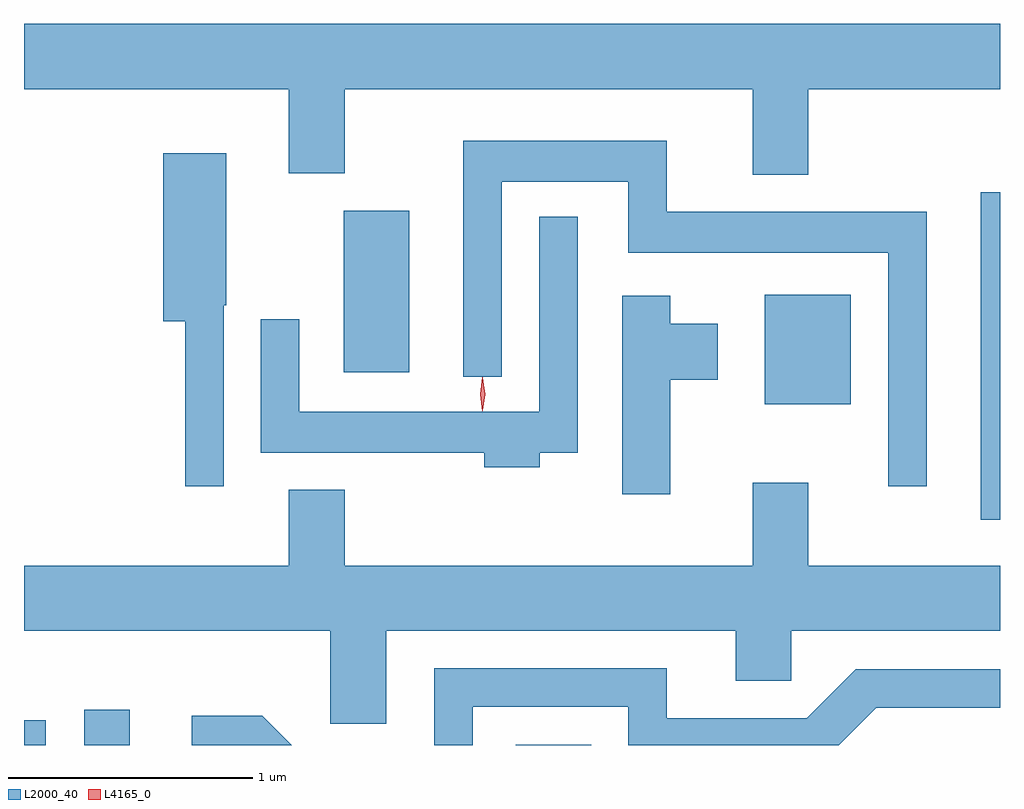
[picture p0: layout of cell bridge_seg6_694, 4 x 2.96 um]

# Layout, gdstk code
import gdstk
lib = gdstk.Library(unit=1e-6, precision=1e-09)
def R(c, l, rs):  # rectangles x0, y0, x1, y1
    for r in rs: c.add(gdstk.rectangle(r[:2], r[2:], *l))
def P(c, l, *ps):  # polygons
    for p in ps: c.add(gdstk.Polygon(p, *l))
L2000_40 = (2000, 40)
L4165_0 = (4165, 0)

bridge_seg6_694 = lib.new_cell('bridge_seg6_694')
R(bridge_seg6_694, L2000_40, [(397.105,1547.348,397.194,1547.449), (397.351,1547.348,397.539,1547.494), (399.121,1547.348,399.429,1547.349), (401.026,1548.271,401.105,1549.614), (400.141,1548.746,400.494,1549.194), (398.416,1548.876,398.684,1549.539)])
P(bridge_seg6_694, L2000_40, [(400.319,1550.036),(401.105,1550.036),(401.105,1550.304),(397.105,1550.304),(397.105,1550.036),(398.191,1550.036),(398.191,1549.691),(398.419,1549.691),(398.419,1550.036),(400.091,1550.036),(400.091,1549.686),(400.319,1549.686)],
  [(400.804,1549.534),(399.739,1549.534),(399.739,1549.824),(398.906,1549.824),(398.906,1548.858),(399.064,1548.858),(399.064,1549.656),(399.581,1549.656),(399.581,1549.366),(400.646,1549.366),(400.646,1548.408),(400.804,1548.408)],
  [(397.924,1549.15),(397.934,1549.15),(397.934,1549.774),(397.676,1549.774),(397.676,1549.086),(397.766,1549.086),(397.766,1548.408),(397.924,1548.408)],
  [(399.219,1548.546),(399.374,1548.546),(399.374,1549.513),(399.216,1549.513),(399.216,1548.714),(398.234,1548.714),(398.234,1549.093),(398.076,1549.093),(398.076,1548.546),(398.991,1548.546),(398.991,1548.486),(399.219,1548.486)],
  [(399.754,1548.846),(399.949,1548.846),(399.949,1549.074),(399.754,1549.074),(399.754,1549.189),(399.556,1549.189),(399.556,1548.376),(399.754,1548.376)],
  [(398.589,1547.816),(400.021,1547.816),(400.021,1547.611),(400.249,1547.611),(400.249,1547.816),(401.105,1547.816),(401.105,1548.084),(400.319,1548.084),(400.319,1548.424),(400.091,1548.424),(400.091,1548.084),(398.419,1548.084),(398.419,1548.394),(398.191,1548.394),(398.191,1548.084),(397.105,1548.084),(397.105,1547.816),(398.361,1547.816),(398.361,1547.436),(398.589,1547.436)],
  [(398.944,1547.506),(399.581,1547.506),(399.581,1547.348),(400.444,1547.348),(400.597,1547.501),(401.105,1547.501),(401.105,1547.659),(400.514,1547.659),(400.314,1547.459),(399.739,1547.459),(399.739,1547.664),(398.786,1547.664),(398.786,1547.348),(398.944,1547.348)],
  [(398.082,1547.469),(397.793,1547.469),(397.793,1547.348),(398.203,1547.348)])
P(bridge_seg6_694, L4165_0, [(398.985,1548.719),(398.984,1548.72),(398.975,1548.786),(398.984,1548.852),(398.985,1548.853),(398.985,1548.852),(398.995,1548.786),(398.985,1548.72)],
  [(398.983,1548.717),(398.974,1548.787),(398.984,1548.856),(398.985,1548.856),(398.985,1548.856),(398.994,1548.786),(398.984,1548.717),(398.984,1548.717)])

lib.write_gds('bridge_seg6_694.gds')
